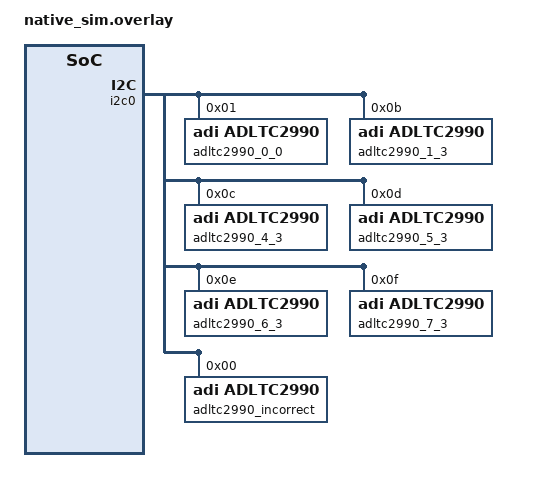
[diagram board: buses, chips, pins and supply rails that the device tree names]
/*
 * SPDX-FileCopyrightText: Copyright (c) 2023 Carl Zeiss Meditec AG
 * SPDX-License-Identifier: Apache-2.0
 */

&i2c0 {
	adltc2990_0_0: adltc2990_0_0@1 {
		compatible = "adi,adltc2990";
		reg = <0x1>;
		measurement-mode = <0 0>;
		pins-v1-v2-current-resistor = <0>;
		pins-v3-v4-current-resistor = <0>;
		pin-v1-voltage-divider-resistors = <500 1000>;
		pin-v2-voltage-divider-resistors = <110000 100000>;
		pin-v3-voltage-divider-resistors = <7000 1000>;
		pin-v4-voltage-divider-resistors = <500 1000>;
	};

	adltc2990_1_3: adltc2990_1_3@b {
		compatible = "adi,adltc2990";
		reg = <0xb>;
		temperature-format = <0>;
		acquistion-format = <1>;
		measurement-mode = <1 3>;
		pins-v1-v2-current-resistor = <1000000>;
		pins-v3-v4-current-resistor = <0>;
		pin-v1-voltage-divider-resistors = <0 1>;
		pin-v2-voltage-divider-resistors = <0 1>;
		pin-v3-voltage-divider-resistors = <0 1>;
		pin-v4-voltage-divider-resistors = <0 1>;
	};

	adltc2990_4_3: adltc2990_4_3@c {
		compatible = "adi,adltc2990";
		reg = <0xc>;
		measurement-mode = <4 3>;
		pins-v1-v2-current-resistor = <1000000>;
		pins-v3-v4-current-resistor = <0>;
		pin-v1-voltage-divider-resistors = <0 1>;
		pin-v2-voltage-divider-resistors = <0 1>;
		pin-v3-voltage-divider-resistors = <0 1>;
		pin-v4-voltage-divider-resistors = <0 1>;
	};

	adltc2990_5_3: adltc2990_5_3@d {
		compatible = "adi,adltc2990";
		reg = <0xd>;
		temperature-format = <1>;
		acquistion-format = <1>;
		measurement-mode = <5 3>;
		pins-v1-v2-current-resistor = <1000000>;
		pins-v3-v4-current-resistor = <0>;
		pin-v1-voltage-divider-resistors = <0 1>;
		pin-v2-voltage-divider-resistors = <0 1>;
		pin-v3-voltage-divider-resistors = <0 1>;
		pin-v4-voltage-divider-resistors = <0 1>;
	};

	adltc2990_6_3: adltc2990_6_3@e {
		compatible = "adi,adltc2990";
		reg = <0xe>;
		temperature-format = <1>;
		acquistion-format = <1>;
		measurement-mode = <6 3>;
		pins-v1-v2-current-resistor = <10000>;
		pins-v3-v4-current-resistor = <100000>;
		pin-v1-voltage-divider-resistors = <500 1000>;
		pin-v2-voltage-divider-resistors = <110000 100000>;
		pin-v3-voltage-divider-resistors = <7000 1000>;
		pin-v4-voltage-divider-resistors = <500 1000>;
	};

	adltc2990_7_3: adltc2990_7_3@f {
		compatible = "adi,adltc2990";
		reg = <0xf>;
		temperature-format = <1>;
		acquistion-format = <1>;
		measurement-mode = <7 3>;
		pins-v1-v2-current-resistor = <0>;
		pins-v3-v4-current-resistor = <0>;
		pin-v1-voltage-divider-resistors = <500 1000>;
		pin-v2-voltage-divider-resistors = <110000 100000>;
		pin-v3-voltage-divider-resistors = <7000 1000>;
		pin-v4-voltage-divider-resistors = <500 1000>;
	};

	adltc2990_incorrect: adltc2990_incorrect@0 {
		compatible = "adi,adltc2990";
		reg = <0x0>;
		measurement-mode = <8 4>;
		pins-v1-v2-current-resistor = <0>;
		pins-v3-v4-current-resistor = <0>;
		pin-v1-voltage-divider-resistors = <500 1000>;
		pin-v2-voltage-divider-resistors = <110000 100000>;
		pin-v3-voltage-divider-resistors = <7000 1000>;
		pin-v4-voltage-divider-resistors = <500 1000>;
	};
};
